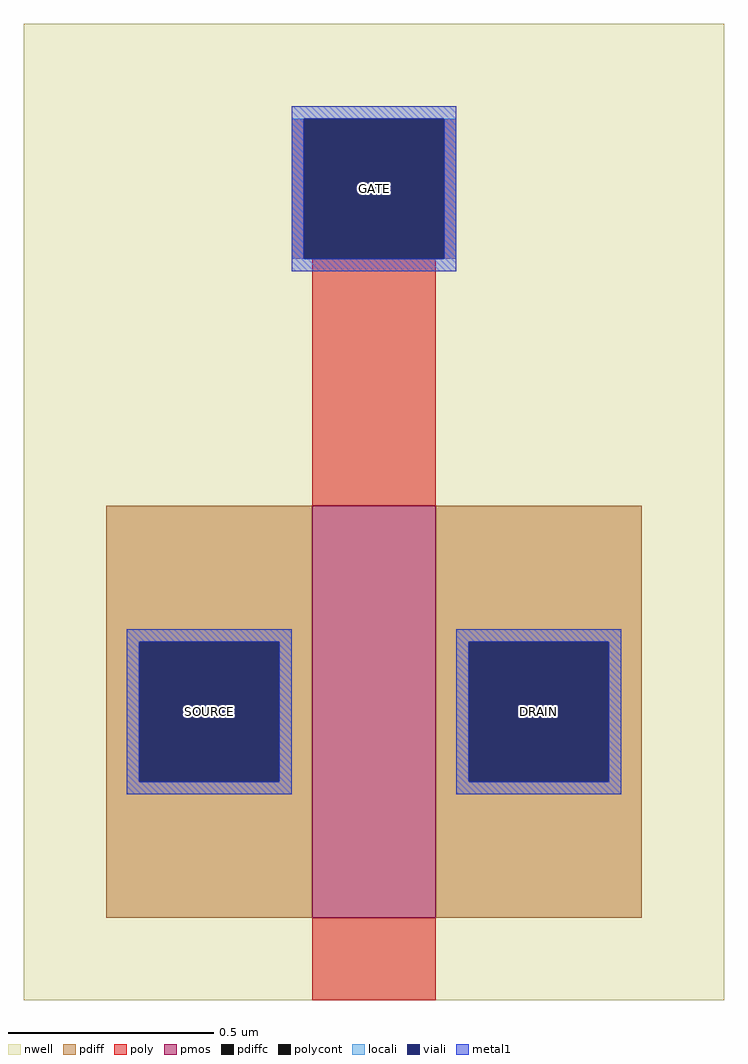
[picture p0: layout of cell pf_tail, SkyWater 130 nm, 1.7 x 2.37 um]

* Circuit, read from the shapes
.subckt pf_tail SOURCE DRAIN GATE
XM1 DRAIN GATE SOURCE n1 sky130_fd_pr__pfet_01v8 w=1 l=0.3
.ends

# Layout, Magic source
magic
tech sky130A
<< nwell >>
rect -20 -20 150 217
<< pmos >>
rect 50 0 80 100
<< pdiff >>
rect 0 67 50 100
rect 0 33 8 67
rect 42 33 50 67
rect 0 0 50 33
rect 80 67 130 100
rect 80 33 88 67
rect 122 33 130 67
rect 80 0 130 33
<< pdiffc >>
rect 8 33 42 67
rect 88 33 122 67
<< poly >>
rect 45 160 48 194
rect 82 160 85 194
rect 50 100 80 160
rect 50 -20 80 0
<< polycont >>
rect 48 160 82 194
<< locali >>
rect 45 160 48 194
rect 82 160 85 194
<< viali >>
rect 48 160 82 194
rect 8 33 42 67
rect 88 33 122 67
<< metal1 >>
rect 45 194 85 197
rect 45 160 48 194
rect 82 160 85 194
rect 45 157 85 160
rect 5 67 45 70
rect 5 33 8 67
rect 42 33 45 67
rect 5 30 45 33
rect 85 67 125 70
rect 85 33 88 67
rect 122 33 125 67
rect 85 30 125 33
<< labels >>
flabel metal1 s 5 30 45 70 0 FreeSans 200 0 0 0 SOURCE
port 1 nsew
flabel metal1 s 85 30 125 70 0 FreeSans 200 0 0 0 DRAIN
port 2 nsew
flabel metal1 s 45 157 85 197 0 FreeSans 200 0 0 0 GATE
port 3 nsew
<< end >>
